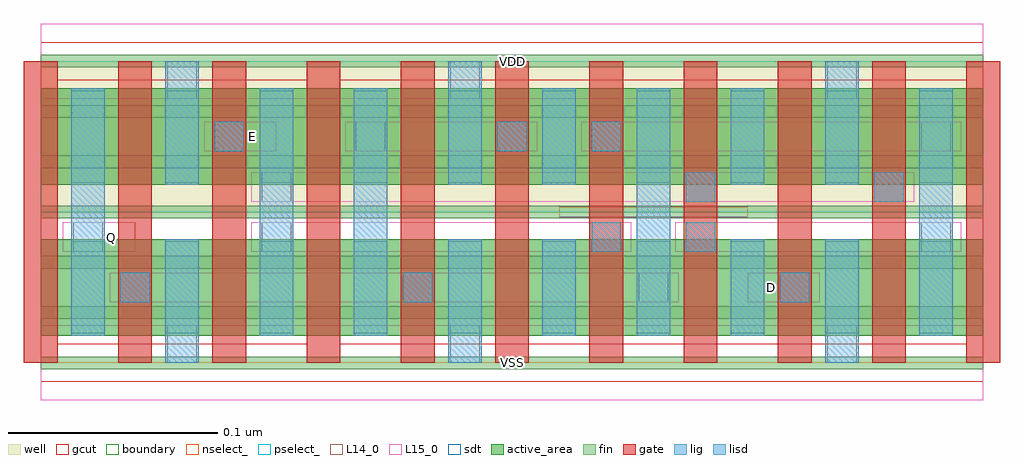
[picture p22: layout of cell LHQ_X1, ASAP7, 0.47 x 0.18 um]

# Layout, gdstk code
import gdstk
lib = gdstk.Library(unit=1e-6, precision=2.5e-10)
def R(c, l, rs):  # rectangles x0, y0, x1, y1
    for r in rs: c.add(gdstk.rectangle(r[:2], r[2:], *l))
def A(c, l, x, y, w, h, nx, ny, dx, dy):  # array of equal rectangles
    R(c, l, [(x+i*dx, y+j*dy, x+i*dx+w, y+j*dy+h) for i in range(nx) for j in range(ny)])
def P(c, l, *ps):  # polygons
    for p in ps: c.add(gdstk.Polygon(p, *l))
well = (1, 0)
fin = (2, 0)
gate = (7, 0)
gcut = (10, 0)
active_area = (11, 0)
nselect_ = (12, 0)
pselect_ = (13, 0)
L14_0 = (14, 0)
L15_0 = (15, 0)
lig = (16, 0)
lisd = (17, 0)
sdt = (88, 0)
boundary = (100, 0)

lhq_x1 = lib.new_cell('LHQ_X1')
R(lhq_x1, well, [(0,0.072,0.45,0.144)])
A(lhq_x1, fin, 0, -0.003, 0.45, 0.006, 1, 7, 0, 0.024)
A(lhq_x1, gate, -0.008, 0, 0.016, 0.144, 11, 1, 0.045, 0)
R(lhq_x1, gcut, [(0.2475,0.0695,0.3375,0.0745)])
P(lhq_x1, gcut, [(0,-0.009),(0,0),(-0.008,0),(-0.008,0.135),(0.008,0.135),(0.008,0.009),(0.127,0.009),(0.127,0.135),(0.143,0.135),(0.143,0.009),(0.442,0.009),(0.442,0.135),(-0.008,0.135),(-0.008,0.144),(0,0.144),(0,0.153),(0.45,0.153),(0.45,0.144),(0.458,0.144),(0.458,0),(0.45,0),(0.45,-0.009)])
R(lhq_x1, active_area, [(0,0.013,0.45,0.059), (0,0.085,0.45,0.131)])
R(lhq_x1, nselect_, [(0,0,0.45,0.072)])
R(lhq_x1, pselect_, [(0,0.072,0.45,0.144)])
A(lhq_x1, L14_0, 0.083, 0.101, 0.014, 0.014, 3, 1, 0.0675, 0)
R(lhq_x1, L14_0, [(0.0605,0,0.0745,0.018), (0.1955,0,0.2095,0.018), (0.3755,0,0.3895,0.018), (0.038,0.029,0.052,0.043), (0.173,0.029,0.187,0.043), (0.2855,0.029,0.2995,0.043), (0.353,0.029,0.367,0.043), (0.0155,0.053,0.0295,0.067), (0.1055,0.053,0.1195,0.067), (0.263,0.053,0.277,0.067), (0.308,0.053,0.322,0.067), (0.4205,0.053,0.4345,0.067), (0.1055,0.077,0.1195,0.091), (0.308,0.077,0.322,0.091), (0.398,0.077,0.412,0.091), (0.263,0.101,0.277,0.115), (0.4205,0.101,0.4345,0.115), (0.0605,0.126,0.0745,0.144), (0.1955,0.126,0.2095,0.144), (0.3755,0.126,0.3895,0.144)])
R(lhq_x1, L15_0, [(0,-0.018,0.45,0.018), (0.033,0.029,0.3045,0.043), (0.3375,0.029,0.372,0.043), (0.0105,0.053,0.045,0.067), (0.1005,0.053,0.282,0.067), (0.303,0.053,0.4395,0.067), (0.1005,0.077,0.417,0.091), (0.078,0.101,0.1125,0.115), (0.1455,0.101,0.237,0.115), (0.258,0.101,0.4395,0.115), (0,0.126,0.45,0.162)])
R(lhq_x1, lig, [(0.038,0.029,0.052,0.043), (0.173,0.029,0.187,0.043), (0.353,0.029,0.367,0.043), (0.263,0.053,0.277,0.067), (0.308,0.053,0.322,0.067), (0.308,0.077,0.322,0.091), (0.398,0.077,0.412,0.091), (0.083,0.101,0.097,0.115), (0.218,0.101,0.232,0.115), (0.263,0.101,0.277,0.115)])
A(lhq_x1, lisd, 0.1495, 0.013, 0.016, 0.118, 3, 1, 0.135, 0)
R(lhq_x1, lisd, [(0.0595,0,0.0755,0.059), (0.1945,0,0.2105,0.059), (0.3745,0,0.3905,0.059), (0.0145,0.013,0.0305,0.131), (0.1045,0.013,0.1205,0.131), (0.2395,0.013,0.2555,0.059), (0.3295,0.013,0.3455,0.059), (0.0595,0.085,0.0755,0.144), (0.1945,0.085,0.2105,0.144), (0.2395,0.085,0.2555,0.131), (0.3295,0.085,0.3455,0.131), (0.3745,0.085,0.3905,0.144)])
A(lhq_x1, sdt, 0.0145, 0.014, 0.016, 0.044, 10, 2, 0.045, 0.072)
R(lhq_x1, boundary, [(0,0,0.45,0.144)])
lhq_x1.add(gdstk.Label('Q', (0.0338,0.06), layer=15, texttype=251))
lhq_x1.add(gdstk.Label('VSS', (0.225,0), layer=15, texttype=251))
lhq_x1.add(gdstk.Label('VDD', (0.225,0.144), layer=15, texttype=251))
lhq_x1.add(gdstk.Label('D', (0.3488,0.036), layer=15, texttype=251))
lhq_x1.add(gdstk.Label('VSS', (0.225,0), layer=15, texttype=251))
lhq_x1.add(gdstk.Label('VDD', (0.225,0.144), layer=15, texttype=251))
lhq_x1.add(gdstk.Label('E', (0.1013,0.108), layer=15, texttype=251))
lhq_x1.add(gdstk.Label('VSS', (0.225,0), layer=15, texttype=251))
lhq_x1.add(gdstk.Label('VDD', (0.225,0.144), layer=15, texttype=251))
lhq_x1.add(gdstk.Label('VSS', (0.225,0), layer=3, texttype=251))
lhq_x1.add(gdstk.Label('VSS', (0.225,0), layer=3, texttype=251))
lhq_x1.add(gdstk.Label('VSS', (0.225,0), layer=3, texttype=251))
lhq_x1.add(gdstk.Label('VDD', (0.225,0.144), layer=1, texttype=251))
lhq_x1.add(gdstk.Label('VDD', (0.225,0.144), layer=1, texttype=251))
lhq_x1.add(gdstk.Label('VDD', (0.225,0.144), layer=1, texttype=251))

lib.write_gds('LHQ_X1.gds')
